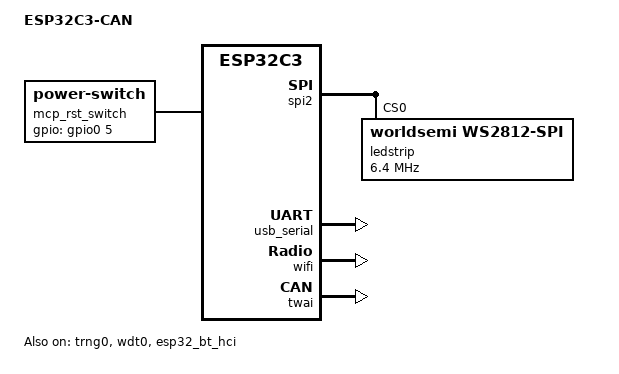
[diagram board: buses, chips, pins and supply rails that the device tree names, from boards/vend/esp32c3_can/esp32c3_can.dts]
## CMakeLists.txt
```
#
# Copyright (c) 2018 Nordic Semiconductor
#
# SPDX-License-Identifier: LicenseRef-Nordic-5-Clause
#
cmake_minimum_required(VERSION 3.20.0)

find_package(Zephyr REQUIRED HINTS $ENV{ZEPHYR_BASE})
project(gopro_remote)

list(APPEND CMAKE_MODULE_PATH ${ZEPHYR_BASE}/modules/nanopb)
include(nanopb)

zephyr_nanopb_sources(app src/protobuf/cohn.proto)
zephyr_nanopb_sources(app src/protobuf/live_streaming.proto)
zephyr_nanopb_sources(app src/protobuf/media.proto)
zephyr_nanopb_sources(app src/protobuf/network_management.proto)
zephyr_nanopb_sources(app src/protobuf/preset_status.proto)
zephyr_nanopb_sources(app src/protobuf/request_get_preset_status.proto)
zephyr_nanopb_sources(app src/protobuf/response_generic.proto)
zephyr_nanopb_sources(app src/protobuf/set_camera_control_status.proto)
zephyr_nanopb_sources(app src/protobuf/turbo_transfer.proto)
zephyr_nanopb_sources(app src/protobuf/gopro_client.proto)

# NORDIC SDK APP START
target_sources(app PRIVATE
  src/main.c
  src/gopro_client.c
  src/gopro_ble_discovery.c
  src/gopro_protobuf.c
  src/gopro_packet.c
  src/gopro_control.c
  src/canbus.c
  src/canbus_isotp.c
  src/buttons.c
  src/leds.c
  src/led_simple.c
  src/led_rgb.c
  src/shell.c
  src/nrf_hal/gatt_dm.c
  src/nrf_hal/scan.c
)
target_include_directories(app PRIVATE
src
# Add user defined include paths
)


# NORDIC SDK APP END
```

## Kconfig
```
source "Kconfig.zephyr"

config SETTINGS
	default y

config ZMS
	default y if (SOC_FLASH_NRF_RRAM || SOC_FLASH_NRF_MRAM)

config NVS
	default y if !(SOC_FLASH_NRF_RRAM || SOC_FLASH_NRF_MRAM)

config HAS_CANBUS
	bool "CAN-BUS present onboard"
	default n

config CANBUS_BD
	int  
	default 1000000

config HAS_LED_SIMPLE
	bool "Simple led"
	default n

config HAS_LED_RGB
	bool "RGB LED"
	default n

config RGB_LED_BRIGHTNESS
	int	
	default 50



#define LOG_LEVEL_NONE 0
#define LOG_LEVEL_ERR  1
#define LOG_LEVEL_WRN  2
#define LOG_LEVEL_INF  3
#define LOG_LEVEL_DBG  4

config CAN_LOG_LVL
	int
	default 4

config BLE_LOG_LVL
	int
	default 4

config PARSE_LOG_LVL
	int
	default 4

config LEDS_LOG_LVL
	int
	default 3

config BUTTONS_LOG_LVL
	int
	default 3


config USE_NRF_SDK
	bool
	default n


if !USE_NRF_SDK
config BT_SCAN_UUID_CNT
	int
	default 1

config BT_SCAN_FILTER_ENABLE
	bool
	default y

config BT_SCAN_MANUFACTURER_DATA_CNT
	int
	default 0

config BT_SCAN_MANUFACTURER_DATA_MAX_LEN
	int
	default 32

config BT_SCAN_APPEARANCE_CNT
	int
	default 0

config BT_SCAN_ADDRESS_CNT
	int	
	default 1

config BT_SCAN_SHORT_NAME_CNT
	int
	default 0

config BT_SCAN_SHORT_NAME_MAX_LEN
	int
	default 32

config BT_SCAN_LOG_LEVEL
	int
	default 3 

config BT_GATT_DM_MAX_ATTRS
	int
	default 35

config BT_GATT_DM_LOG_LEVEL
	int
	default 3

config BT_SCAN_NAME_CNT
	int
	default 0

config BT_SCAN_NAME_MAX_LEN
	int
	default 32
endif
```

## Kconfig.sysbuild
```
#
# Copyright (c) 2023 Nordic Semiconductor
#
# SPDX-License-Identifier: LicenseRef-Nordic-5-Clause
#

source "share/sysbuild/Kconfig"
```

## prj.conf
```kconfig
# Enable the BLE stack with GATT Client configuration
CONFIG_BT=y
CONFIG_BT_CENTRAL=y
CONFIG_BT_SMP=y
CONFIG_BT_GATT_CLIENT=y
CONFIG_BT_SECURITY_ERR_TO_STR=y
#CONFIG_BT_HCI_ERR_TO_STR = y
CONFIG_BT_SMP_SC_PAIR_ONLY=n 
CONFIG_BT_KEYS_OVERWRITE_OLDEST=y
CONFIG_BT_CONN_CHECK_NULL_BEFORE_CREATE=y
CONFIG_BT_ATT_ERR_TO_STR=y
#CONFIG_BT_FILTER_ACCEPT_LIST=y
#CONFIG_BT_PRIVACY=y

# Enable bonding
CONFIG_SETTINGS=y
CONFIG_BT_SETTINGS=y
CONFIG_FLASH=y
CONFIG_FLASH_PAGE_LAYOUT=y
CONFIG_FLASH_MAP=y
CONFIG_NVS=y
CONFIG_SETTINGS_NVS=y

# Config logger
CONFIG_LOG=y
CONFIG_LOG_PRINTK=y
CONFIG_ASSERT=y

CONFIG_THREAD_MONITOR=y
CONFIG_LOG_DEFAULT_LEVEL=3
CONFIG_LOG_BACKEND_SHOW_COLOR=n

CONFIG_TRACING=y

CONFIG_LOG_BUFFER_SIZE=4096
CONFIG_LOG_MODE_OVERFLOW=y

CONFIG_CAN=y
CONFIG_ISOTP=y
CONFIG_ISOTP_RX_SF_FF_BUF_COUNT=1
CONFIG_ISOTP_LOG_LEVEL_DBG=y
CONFIG_STATS=y
CONFIG_STATS_NAMES=y
CONFIG_CAN_STATS=y

CONFIG_ZBUS=y
CONFIG_ZBUS_LOG_LEVEL_INF=y
CONFIG_ZBUS_CHANNEL_NAME=y
CONFIG_ZBUS_MSG_SUBSCRIBER=y
CONFIG_ZBUS_ASSERT_MOCK=y
CONFIG_ISR_STACK_SIZE=4096
CONFIG_SYSTEM_WORKQUEUE_STACK_SIZE=4096
# CONFIG_MAIN_STACK_SIZE=8192
# CONFIG_IDLE_STACK_SIZE=1024
# CONFIG_PRIVILEGED_STACK_SIZE=8192

CONFIG_NANOPB=y

CONFIG_HWINFO=y 

CONFIG_THREAD_ANALYZER=y
CONFIG_THREAD_ANALYZER_USE_PRINTK=y
CONFIG_THREAD_MONITOR=y
# CONFIG_THREAD_ANALYZER_AUTO=y
# CONFIG_THREAD_ANALYZER_AUTO_INTERVAL=20

CONFIG_THREAD_STACK_INFO=y
CONFIG_INIT_STACKS=y
CONFIG_SYS_HEAP_RUNTIME_STATS=y

CONFIG_THREAD_NAME=y
CONFIG_SCHED_CPU_MASK=y

CONFIG_SHELL=y
#CONFIG_SHELL_LOG_BACKEND=y
CONFIG_SHELL_CMDS=y
CONFIG_SHELL_HELP=y
CONFIG_SHELL_HISTORY=n
CONFIG_CAN_SHELL=y
CONFIG_BT_SHELL=y
CONFIG_GPIO_SHELL=y
CONFIG_KERNEL_SHELL=y
#CONFIG_LED_SHELL=y
CONFIG_STATS_SHELL=n
```

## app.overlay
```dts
/*
 * Copyright (c) 2023 Nordic Semiconductor ASA
 *
 * SPDX-License-Identifier: LicenseRef-Nordic-5-Clause
 */

/ {
	 chosen {
		nordic,nus-uart = &uart0;
	 };
};
```

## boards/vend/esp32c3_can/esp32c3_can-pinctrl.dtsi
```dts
/*
 * Copyright (c) 2024 Arrel Neumiller
 * SPDX-License-Identifier: Apache-2.0
 */

#include <zephyr/dt-bindings/pinctrl/esp-pinctrl-common.h>
#include <zephyr/dt-bindings/pinctrl/esp32c3-pinctrl.h>
#include <zephyr/dt-bindings/pinctrl/esp32c3-gpio-sigmap.h>

&pinctrl {
	uart0_default: uart0_default {
		group1 {
			pinmux = <UART0_TX_GPIO21>;
			output-high;
		};

		group2 {
			pinmux = <UART0_RX_GPIO20>;
			bias-pull-up;
		};
	};

	spim2_default: spim2_default {
		group1 {
			pinmux = <SPIM2_MISO_GPIO8>,
				 <SPIM2_SCLK_GPIO9>,
				 <SPIM2_CSEL_GPIO7>;
		};

		group2 {
			pinmux = <SPIM2_MOSI_GPIO10>;
			output-low;
		};
	};

	i2c0_default: i2c0_default {
		group1 {
			pinmux = <I2C0_SDA_GPIO9>,
				 <I2C0_SCL_GPIO10>;
			bias-pull-up;
			drive-open-drain;
			output-high;
		};
	};

	twai_default: twai_default {
		group1 {
			pinmux = <TWAI_TX_GPIO3>,
				 <TWAI_RX_GPIO4>;
		};
	};


};
```

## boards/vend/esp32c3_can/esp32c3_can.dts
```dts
/*
 * Copyright (c) 2024 Arrel Neumiller
 * SPDX-License-Identifier: Apache-2.0
 */

/dts-v1/;

#include <espressif/esp32c3/esp32c3_fx4.dtsi>
#include "esp32c3_can-pinctrl.dtsi"
#include <zephyr/dt-bindings/input/input-event-codes.h>
#include <zephyr/dt-bindings/led/led.h>
#include <espressif/partitions_0x0_default.dtsi>

/ {
	model = "ESP32C3-CAN";
	compatible = "espressif,esp32c3_supermini";

	chosen {
		zephyr,sram = &sram1;
		zephyr,console = &usb_serial;
		zephyr,shell-uart = &usb_serial;
		zephyr,flash = &flash0;
		zephyr,code-partition = &slot0_partition;
		zephyr,canbus = &twai;
	};

	aliases {
		// led0 = &blue_led_0;
//		sw0 = &user_button1;
		i2c-0 = &i2c0;
		watchdog0 = &wdt0;
		ledstrip = &ledstrip;
	};

	mcp_rst_switch: mcp_rst_switch {
		compatible = "power-switch";
		gpios = <&gpio0 5 GPIO_ACTIVE_HIGH>;
	};

	// gpio_keys {
	// 	compatible = "gpio-keys";

	// 	user_button1: button_1 {
	// 		label = "User SW1";
	// 		gpios = <&gpio0 9 (GPIO_PULL_UP | GPIO_ACTIVE_LOW)>;
	// 		zephyr,code = <INPUT_KEY_0>;
	// 	};
	// };

	// leds {
	// 	compatible = "gpio-leds";

	// 	blue_led_0: led_0 {
	// 		gpios = <&gpio0 8 GPIO_ACTIVE_LOW>;
	// 		label = "Blue LED 0";
	// 	};
	// };
};

&spi2 {
	#address-cells = <1>;
	#size-cells = <0>;
	status = "okay";
	pinctrl-0 = <&spim2_default>;
	pinctrl-names = "default";


	line-idle-low;
	ledstrip: ws2812@0 {
		compatible = "worldsemi,ws2812-spi";

		/* SPI */
		reg = <0>; /* ignored, but necessary for SPI bindings */
		spi-max-frequency = <6400000>;

		/* WS2812 */
		chain-length = <1>; /* arbitrary; change at will */
		spi-cpha;
		spi-one-frame = <0xf0>; /* 11110000: 625 ns high and 625 ns low */
		spi-zero-frame = <0xc0>; /* 11000000: 312.5 ns high and 937.5 ns low */
		color-mapping = <LED_COLOR_ID_RED 
				 LED_COLOR_ID_GREEN
				 LED_COLOR_ID_BLUE>;
	};

};

&usb_serial {
	status = "okay";
};

&i2c0 {
	status = "disabled";
};

&trng0 {
	status = "okay";
};

&gpio0 {
	status = "okay";
};

&wdt0 {
	status = "okay";
};

&uart0 {
	status = "disabled";
};

&esp32_bt_hci {
	status = "okay";
};

&wifi {
	status = "okay";
};

&twai {
	pinctrl-0 = <&twai_default>;
	pinctrl-names = "default";
	status = "okay";
};
```

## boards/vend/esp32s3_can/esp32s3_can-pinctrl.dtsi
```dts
/*
 * Copyright (c) 2024 Espressif Systems (Shanghai) Co., Ltd.
 *
 * SPDX-License-Identifier: Apache-2.0
 */

#include <zephyr/dt-bindings/pinctrl/esp-pinctrl-common.h>
#include <dt-bindings/pinctrl/esp32s3-pinctrl.h>
#include <zephyr/dt-bindings/pinctrl/esp32s3-gpio-sigmap.h>

&pinctrl {
	uart0_default: uart0_default {
		group1 {
			pinmux = <UART0_TX_GPIO43>;
			output-high;
		};

		group2 {
			pinmux = <UART0_RX_GPIO44>;
			bias-pull-up;
		};
	};

	uart1_default: uart1_default {
		group1 {
			pinmux = <UART1_TX_GPIO17>;
			output-high;
		};

		group2 {
			pinmux = <UART1_RX_GPIO18>;
			bias-pull-up;
		};
	};

	i2c0_default: i2c0_default {
		group1 {
			pinmux = <I2C0_SDA_GPIO1>,
				 <I2C0_SCL_GPIO2>;
			bias-pull-up;
			drive-open-drain;
			output-high;
		};
	};

	i2c1_default: i2c1_default {
		group1 {
			pinmux = <I2C1_SDA_GPIO4>,
				 <I2C1_SCL_GPIO5>;
			bias-pull-up;
			drive-open-drain;
			output-high;
		};
	};

	i2s0_default: i2s0_default {
		group1 {
			pinmux = <I2S0_MCLK_GPIO4>,
				 <I2S0_O_WS_GPIO5>,
				 <I2S0_O_BCK_GPIO6>,
				 <I2S0_O_SD_GPIO7>,
				 <I2S0_I_WS_GPIO15>,
				 <I2S0_I_BCK_GPIO16>;
			output-enable;
		};

		group2 {
			pinmux = <I2S0_I_SD_GPIO17>;
			input-enable;
		};
	};

	i2s1_default: i2s1_default {
		group1 {
			pinmux = <I2S1_MCLK_GPIO18>,
				 <I2S1_O_WS_GPIO8>,
				 <I2S1_O_BCK_GPIO3>,
				 <I2S1_O_SD_GPIO9>,
				 <I2S1_I_WS_GPIO10>,
				 <I2S1_I_BCK_GPIO11>;
			output-enable;
		};

		group2 {
			pinmux = <I2S1_I_SD_GPIO12>;
			input-enable;
		};
	};

	spim2_default: spim2_default {
		group1 {
			pinmux = <SPIM2_MISO_GPIO13>,
				 <SPIM2_SCLK_GPIO12>,
				 <SPIM2_CSEL_GPIO10>;
		};

		group2 {
			pinmux = <SPIM2_MOSI_GPIO11>;
			output-low;
		};
	};

	spim3_default: spim3_default {
		group1 {
			pinmux = <SPIM3_MISO_GPIO37>,
				 <SPIM3_SCLK_GPIO36>,
				 <SPIM3_CSEL_GPIO38>;
		};

		group2 {
			pinmux = <SPIM3_MOSI_GPIO48>;
			output-low;
		};
	};

	twai_default: twai_default {
		group1 {
			pinmux = <TWAI_TX_GPIO5>,
				 <TWAI_RX_GPIO6>;
		};
	};
};
```

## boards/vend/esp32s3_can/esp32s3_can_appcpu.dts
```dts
/*
 * Copyright (c) 2024 Espressif Systems (Shanghai) Co., Ltd.
 *
 * SPDX-License-Identifier: Apache-2.0
 */
/dts-v1/;

#include <espressif/esp32s3/esp32s3_wroom_n8.dtsi>
#include <espressif/partitions_0x0_amp.dtsi>
#include "esp32s3_can-pinctrl.dtsi"

/ {
	model = "Espressif ESP32S3-DevkitC APPCPU";
	compatible = "espressif,esp32s3";

	chosen {
		zephyr,sram = &sram1;
		zephyr,ipc_shm = &shm0;
		zephyr,ipc = &ipm0;
		zephyr,flash = &flash0;
		zephyr,code-partition = &slot0_appcpu_partition;
	};
};

&trng0 {
	status = "okay";
};

&ipm0 {
	status = "okay";
};

&twai {
	status = "okay";
};
```

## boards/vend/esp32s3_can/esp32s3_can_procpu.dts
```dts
/dts-v1/;

#include <espressif/esp32s3/esp32s3_wroom_n8.dtsi>
#include <zephyr/dt-bindings/input/input-event-codes.h>
#include <zephyr/dt-bindings/input/esp32-touch-sensor-input.h>
#include <espressif/partitions_0x0_amp.dtsi>
#include "esp32s3_can-pinctrl.dtsi"
#include <zephyr/dt-bindings/led/led.h>

/ {
	model = "Espressif ESP32S3-DevkitC PROCPU";
	compatible = "espressif,esp32s3";

	chosen {
		zephyr,sram = &sram1;
		zephyr,console = &uart0;
		zephyr,shell-uart = &uart0;
		zephyr,flash = &flash0;
		zephyr,code-partition = &slot0_partition;
		zephyr,bt-hci = &esp32_bt_hci;
		zephyr,canbus = &twai;
	};

	aliases {
		uart-0 = &uart0;
		sw0 = &button0;
		i2c-0 = &i2c0;
		watchdog0 = &wdt0;
		ledstrip = &ledstrip;
	};

	buttons {
		compatible = "gpio-keys";

		button0: button_0 {
			gpios = <&gpio0 0 (GPIO_PULL_UP | GPIO_ACTIVE_LOW)>;
			label = "BOOT Button";
			zephyr,code = <INPUT_KEY_0>;
		};
	};
};

&usb_serial {
	status = "disabled";
};

&uart0 {
	status = "okay";
	current-speed = <115200>;
	pinctrl-0 = <&uart0_default>;
	pinctrl-names = "default";
};

&gpio0 {
	status = "okay";
};

&gpio1 {
	status = "okay";
};

&touch {
	debounce-interval-ms = <30>;
	href-microvolt = <2700000>;
	lref-microvolt = <500000>;
	href-atten-microvolt = <1000000>;
	filter-mode = <ESP32_TOUCH_FILTER_MODE_IIR_16>;
	filter-debounce-cnt = <1>;
	filter-noise-thr = <ESP32_TOUCH_FILTER_NOISE_THR_4_8TH>;
	filter-jitter-step = <4>;
	filter-smooth-level = <ESP32_TOUCH_FILTER_SMOOTH_MODE_IIR_2>;
};

&i2c0 {
	clock-frequency = <I2C_BITRATE_STANDARD>;
	pinctrl-0 = <&i2c0_default>;
	pinctrl-names = "default";
};

&i2c1 {
	clock-frequency = <I2C_BITRATE_STANDARD>;
	pinctrl-0 = <&i2c1_default>;
	pinctrl-names = "default";
};

&i2s0 {
	pinctrl-0 = <&i2s0_default>;
	pinctrl-names = "default";
	status = "disabled";
};

&i2s1 {
	pinctrl-0 = <&i2s1_default>;
	pinctrl-names = "default";
	status = "disabled";
};

&spi2 {
	#address-cells = <1>;
	#size-cells = <0>;
	status = "okay";
	pinctrl-0 = <&spim2_default>;
	pinctrl-names = "default";
};

&spi3 {
	/* Workaround to support WS2812 driver */
	line-idle-low;
	#address-cells = <1>;
	#size-cells = <0>;
	status = "okay";
	pinctrl-0 = <&spim3_default>;
	pinctrl-names = "default";
	
	ledstrip:ws2812@0 {
		compatible = "worldsemi,ws2812-spi";

		/* SPI */
		reg = <0>; /* ignored, but necessary for SPI bindings */
		spi-max-frequency = <6400000>;

		/* WS2812 */
		chain-length = <1>; /* arbitrary; change at will */
		spi-cpha;
		spi-one-frame = <0xf0>; /* 11110000: 625 ns high and 625 ns low */
		spi-zero-frame = <0xc0>; /* 11000000: 312.5 ns high and 937.5 ns low */
		color-mapping = <2 1 3>;
		status = "okay"; 
	};

};

&twai {
	pinctrl-0 = <&twai_default>;
	pinctrl-names = "default";
	status = "okay";
};

&timer0 {
	status = "disabled";
};

&timer1 {
	status = "disabled";
};

&timer2 {
	status = "disabled";
};

&timer3 {
	status = "disabled";
};

&wdt0 {
	status = "okay";
};

&trng0 {
	status = "okay";
};

&esp32_bt_hci {
	status = "okay";
};

&wifi {
	status = "disabled";
};

zephyr_udc0: &usb_otg {
	status = "disabled";
};
```

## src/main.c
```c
#include <zephyr/kernel.h>
#include <zephyr/logging/log.h>

#include <gopro_client.h>
#include <canbus.h>
#include <buttons.h>
#include <leds.h>
#include "gopro_ble_discovery.h"

#include <zephyr/drivers/clock_control.h>
#include <zephyr/drivers/clock_control/nrf_clock_control.h>

LOG_MODULE_REGISTER(gopro_main, LOG_LEVEL_DBG);

// System heap
extern struct sys_heap _system_heap;

#ifdef CONFIG_USE_NRF_SDK
int clocks_start(void)
{
	int err;
	int res;
	struct onoff_manager *clk_mgr;
	struct onoff_client clk_cli;

	clk_mgr = z_nrf_clock_control_get_onoff(CLOCK_CONTROL_NRF_SUBSYS_HF);
	if (!clk_mgr) {
		LOG_ERR("Unable to get the Clock manager");
		return -ENXIO;
	}

	sys_notify_init_spinwait(&clk_cli.notify);

	err = onoff_request(clk_mgr, &clk_cli);
	if (err < 0) {
		LOG_ERR("Clock request failed: %d", err);
		return err;
	}

	do {
		err = sys_notify_fetch_result(&clk_cli.notify, &res);
		if (!err && res) {
			LOG_ERR("Clock could not be started: %d", res);
			return res;
		}
	} while (err);

	LOG_DBG("HF clock started");
	return 0;
}
#endif

static void __attribute__((unused)) heap_usage(void){
	struct sys_memory_stats heap_stats;
	int ret;

	while(1){
		ret = sys_heap_runtime_stats_get(&_system_heap, &heap_stats);
        if (ret < 0) {
            LOG_ERR("Failed to get heap stats");
        } else {
            LOG_DBG("Heap | Free: %u bytes, Allocated: %u bytes Max: %u bytes", heap_stats.free_bytes, heap_stats.allocated_bytes, heap_stats.max_allocated_bytes);
        }
	
        k_msleep(5000);
	}
}


int main(void)
{
	#ifdef CONFIG_USE_NRF_SDK
	clocks_start();
	#endif
	gopro_gpio_init();
	gopro_leds_init();	
	canbus_init();
	gopro_bt_start();

	//heap_usage();

	return 0;
}
```

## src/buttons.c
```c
#include "buttons.h"
#include <errno.h>
#include <zephyr/kernel.h>
#include <zephyr/device.h>
#include <zephyr/devicetree.h>
#include <zephyr/logging/log.h>

#define SW0_NODE	DT_ALIAS(sw0)

#if DT_NODE_HAS_STATUS_OKAY(SW0_NODE)
#define BUTTON_PRESENT
#endif


#ifdef BUTTON_PRESENT

LOG_MODULE_REGISTER(gopro_buttons, CONFIG_BUTTONS_LOG_LVL);

#include <zephyr/sys/byteorder.h>
#include <zephyr/sys/printk.h>
#include <zephyr/drivers/gpio.h>
#include <zephyr/logging/log.h>
#include <zephyr/zbus/zbus.h>
#include "gopro_client.h"

static const struct gpio_dt_spec button_rec = GPIO_DT_SPEC_GET_OR(SW0_NODE, gpios,{0});
static struct gpio_callback button_cb_data;

static const struct gopro_cmd_t  gopro_start_rec_msg = {
    	.cmd_type = GP_CNTRL_HANDLE_CMD,
		.len = 4,
        .data = {0x03,0x01,0x01,0x01}
};

static const struct gopro_cmd_t gopro_stop_rec_msg = {
    	.cmd_type = GP_CNTRL_HANDLE_CMD,
        .len = 4,
        .data = {0x03,0x01,0x01,0x00}
};

extern struct gopro_state_t gopro_state;

ZBUS_CHAN_DECLARE(gopro_cmd_chan);


void button_pressed(const struct device *dev, struct gpio_callback *cb, uint32_t pins){
	int err;
	// static uint8_t cmd_index = 0;
	struct gopro_cmd_t *p_gopro_cmd;

	LOG_INF("Button pressed at %" PRIu32 " pins: %d", k_cycle_get_32(),pins);

	if(gopro_state.record == 1){
		p_gopro_cmd = (struct gopro_cmd_t *)&gopro_stop_rec_msg;
	}else{
		p_gopro_cmd = (struct gopro_cmd_t *)&gopro_start_rec_msg;
	}

	LOG_HEXDUMP_DBG(p_gopro_cmd,sizeof(struct gopro_cmd_t),"Button cmd:");

	err = zbus_chan_pub(&gopro_cmd_chan, p_gopro_cmd, K_NO_WAIT);
	if(err != 0){
		if(err == -ENOMSG){
			LOG_ERR("Invalid Gopro state, skip cmd");
			return;
		}
		LOG_ERR("CMD chan pub failed: %d",err);
	}else{
		LOG_DBG("Rec cmd sent");
	}


	// if(pins & BIT(button_rec.pin)){
	// 	LOG_INF("REC Button");
	// 	if (led.port) {
	// 			gpio_pin_toggle_dt(&led);
	// 	}

	// 	k_fifo_put(&fifo_uart_rx_data, &cmd_buf_list[cmd_index]);
	// 	cmd_index++;

	// 	if(cmd_index > (sizeof(cmd_buf_list)/sizeof(cmd_buf_list[0]))-1 ){
	// 		cmd_index = 0;
	// 	}
	// }
	
	// if(pins & BIT(button_hl.pin)){
	// 	LOG_INF("HL Button");

	// 	k_fifo_put(&fifo_uart_rx_data, &cmd_hl);
	// }
}

void gopro_gpio_init(void){
	int err=0;

	LOG_INF("Buttons init");

	if (!gpio_is_ready_dt(&button_rec)) {
		LOG_ERR("Error: button device %s is not ready\n",
		       button_rec.port->name);
		return;
	}

	err = gpio_pin_configure_dt(&button_rec, GPIO_INPUT);
	if (err != 0) {
		LOG_ERR("Error %d: failed to configure %s pin %d\n",
		       err, button_rec.port->name, button_rec.pin);
		return;
	}

	err = gpio_pin_interrupt_configure_dt(&button_rec, GPIO_INT_EDGE_TO_ACTIVE);
	if (err != 0) {
		LOG_ERR("Error %d: failed to configure interrupt on %s pin %d\n", err, button_rec.port->name, button_rec.pin);
		return;
	}

	gpio_init_callback(&button_cb_data, button_pressed, BIT(button_rec.pin));
	gpio_add_callback(button_rec.port, &button_cb_data);

	LOG_INF("Set up REC button at %s pin %d\n", button_rec.port->name, button_rec.pin);

}

#else
void gopro_gpio_init(void){
    
};


#endif
```

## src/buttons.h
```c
#ifndef GOPRO_BUTTONS_H
#define GOPRO_BUTTONS_H


void gopro_gpio_init(void);

#endif
```

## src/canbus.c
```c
#include "canbus.h"

#include <zephyr/drivers/spi.h>
#include <zephyr/drivers/can.h>
#include <zephyr/drivers/gpio.h>
#include <zephyr/kernel.h>
#include <zephyr/device.h>
#include <zephyr/devicetree.h>
#include <zephyr/sys/byteorder.h>
#include <zephyr/sys/printk.h>
#include <zephyr/logging/log.h>
#include <zephyr/zbus/zbus.h>
#include <zephyr/canbus/isotp.h>

#include <gopro_client.h>
#include <canbus_isotp.h>

//#define CAN_MCP_NODE	DT_ALIAS(cannode)

#ifdef CONFIG_HAS_CANBUS
LOG_MODULE_REGISTER(canbus_gopro, CONFIG_CAN_LOG_LVL);
#if DT_NODE_EXISTS(DT_NODELABEL(mcp_rst_switch))
#define MCP_RST_SWITCH
#endif

static void mcp2515_get_timing(struct can_timing *timing, uint8_t cnf1, uint8_t cnf2, uint8_t cnf3);
static void can_print_timing(struct can_timing *timing);
static void can_tx_timer_handler(struct k_timer *dummy);
static void can_tx_subscriber_task(void *ptr1, void *ptr2, void *ptr3);
static void can_data_subscriber_task(void *ptr1, void *ptr2, void *ptr3);
static void can_tx_work_handler(struct k_work *work);

extern struct gopro_state_t gopro_state;

K_SEM_DEFINE(can_tx_sem, 0, 1);

static bool can_msg_validator(const void* msg, size_t msg_size);
ZBUS_CHAN_DEFINE(can_tx_chan,                           	/* Name */
         struct can_frame,                       		      	/* Message type */
         can_msg_validator,                                       	/* Validator */
         NULL,                                       	/* User Data */
         ZBUS_OBSERVERS(can_tx_subscriber),  	        		/* observers */
         ZBUS_MSG_INIT(0)       						/* Initial value */
);

ZBUS_MSG_SUBSCRIBER_DEFINE(can_tx_subscriber);

K_THREAD_DEFINE(can_tx_subscriber_task_id, 2048, can_tx_subscriber_task, NULL, NULL, NULL, 3, 0, 0);

static bool gopro_cmd_validator(const void* msg, size_t msg_size);
ZBUS_CHAN_DEFINE(can_txdata_chan,                           	/* Name */
         struct gopro_cmd_t,                       		      	/* Message type */
         gopro_cmd_validator,                                       	/* Validator */
         NULL,                                       	/* User Data */
         ZBUS_OBSERVERS(can_data_subscriber),  	        		/* observers */
         ZBUS_MSG_INIT(0)       						/* Initial value */
);

ZBUS_MSG_SUBSCRIBER_DEFINE(can_data_subscriber);

K_THREAD_DEFINE(can_data_subscriber_task_id, 1024, can_data_subscriber_task, NULL, NULL, NULL, 3, 0, 0);

ZBUS_CHAN_DECLARE(gopro_cmd_chan);

K_TIMER_DEFINE(can_tx_timer, can_tx_timer_handler, NULL);
#define CAN_TX_TIMER_START	do{k_timer_start(&can_tx_timer, K_MSEC(100), K_MSEC(100));}while(0)
K_WORK_DEFINE(can_tx_work, can_tx_work_handler);

#ifdef MCP_RST_SWITCH
static const struct gpio_dt_spec mcp_rst_switch = 	GPIO_DT_SPEC_GET_OR(DT_NODELABEL(mcp_rst_switch), gpios, {0});
#endif

const struct device *can_dev = DEVICE_DT_GET(DT_CHOSEN(zephyr_canbus));

const struct can_frame err_state_frame = {
		.flags = 0,
		.id = GPCAN_REPLY_MSG_ERR_ID,
		.dlc = 1,
		.data = {0xFF,0,0,0,0,0,0,0}
};

#ifdef GPCAN_ENABLE_FILTER
const struct can_filter goprocan_filter = {
        .flags = 0,
        .id = GPCAN_INPUT_CMD_ID,
        .mask = 0x7F0
};
#else
const struct can_filter goprocan_filter = {
        .flags = 0,
        .id = 0,
        .mask = 0
};
#endif

static bool can_msg_validator(const void* msg, size_t msg_size) {
	struct can_frame *frame =  (struct can_frame *)msg;

	if( (frame->dlc == 0 ) || (frame->dlc > 8)){
		LOG_ERR("Invalid CAN MSG len: %d",frame->dlc);
		return 0;
	}

	if(frame->id > 0x7FF){
		LOG_ERR("Invalid CAN ID: 0x%0X",frame->id);
		return 0;
	}

	if(frame->flags != 0){
		LOG_ERR("Invalid CAN flags: 0x%0X",frame->flags);
		return 0;
	}

	return 1;
}

static bool gopro_cmd_validator(const void* msg, size_t msg_size) {
	struct gopro_cmd_t *gopro_cmd =  (struct gopro_cmd_t *)msg;

	if(gopro_cmd->len > GOPRO_CMD_DATA_LEN){
		LOG_ERR("Data len > 20: %d",gopro_cmd->len);
		return 0;
	}

	switch (gopro_cmd->cmd_type)
	{
	case GP_CNTRL_HANDLE_CMD:
	case GP_CNTRL_HANDLE_SETTINGS:
	case GP_CNTRL_HANDLE_QUERY:
	case GP_CNTRL_HANDLE_NET:
		break;
	
	default:
		return 0;
		break;
	}

	return 1;
}

static void rx_callback_function(const struct device *dev, struct can_frame *frame, void *user_data)
{
    int err;
	struct gopro_cmd_t gopro_cmd;    

	memset(&gopro_cmd,0,sizeof(struct gopro_cmd_t));

	switch (frame->id)
	{
	case GPCAN_INPUT_CMD_ID: //GoPro cmd
		gopro_cmd.cmd_type = GP_CNTRL_HANDLE_CMD;
		break;

	case GPCAN_INPUT_SET_ID: //GoPro cmd
		gopro_cmd.cmd_type = GP_CNTRL_HANDLE_SETTINGS;
		break;

	case GPCAN_INPUT_QUERY_ID: //GoPro cmd
		gopro_cmd.cmd_type = GP_CNTRL_HANDLE_QUERY;
		break;

	case GPCAN_INPUT_NET_ID: //GoPro cmd
		gopro_cmd.cmd_type = GP_CNTRL_HANDLE_NET;
		break;

	case GPCAN_INPUT_CONTROL_ID: //GoPro cmd
		gopro_cmd.cmd_type = 0xFF;
		break;

	default:
		return;
		break;
	}

	if((frame->dlc > 0) && (frame->dlc <= GOPRO_CMD_DATA_LEN)){

		gopro_cmd.len = frame->dlc;
		
		for(uint32_t i=0; i<frame->dlc; i++){
			gopro_cmd.data[i] = frame->data[i];
		}

		err = zbus_chan_pub(&gopro_cmd_chan, &gopro_cmd, K_NO_WAIT);
		if(err != 0){
			if(err == -ENOMSG){
				LOG_ERR("Invalid Gopro state, skip cmd");
				
				zbus_chan_pub(&can_tx_chan, &err_state_frame, K_NO_WAIT);
				
				return;
			}
			LOG_ERR("CMD chan pub failed: %d",err);
		}
	}	
}

static void __attribute__((unused)) mcp2515_get_timing(struct can_timing *timing, uint8_t cnf1, uint8_t cnf2, uint8_t cnf3){
	timing->sjw= (cnf1 >> 6) + 1;
	timing->prescaler= (cnf1 & 0x3F) + 1;

	timing->phase_seg1= ((cnf2 >> 3) & 7)+1;
	timing->prop_seg= (cnf2 & 0x7) + 1;

	timing->phase_seg2=(cnf3 & 7)+1;
}

int canbus_init(void){
	struct can_timing timing;
	int err;

	#ifdef MCP_RST_SWITCH
		if (!gpio_is_ready_dt(&mcp_rst_switch)) {
			LOG_ERR("The MCP2515 RST pin GPIO port is not ready.");
			return -1;
		}

		err = gpio_pin_configure_dt(&mcp_rst_switch, GPIO_OUTPUT_INACTIVE);
		if (err != 0) {
			LOG_ERR("Configuring RST pin failed: %d", err);
			return-1;
		}

		err = gpio_pin_set_dt(&mcp_rst_switch, 1);
		if (err != 0) {
			LOG_ERR("Setting RST pin level failed: %d\n", err);
			return -1;
		}
	#endif

	if (!device_is_ready(can_dev)) {
		LOG_ERR("CAN: Device %s not ready.\n", can_dev->name);
		return -1;
	}else{
		LOG_DBG("CAN device ready");
	}

	err = can_set_mode(can_dev, CAN_MODE_NORMAL);

    if (err != 0) {
        LOG_ERR("Error setting CAN mode [%d]", err);
        return -1;
    }else{
    	LOG_DBG("MODE NORMAL Enabled.");
	}

	err = can_calc_timing(can_dev, &timing, CONFIG_CANBUS_BD, 875);
	
	if (err < 0) {
		LOG_ERR("Failed to calc a valid timing");
		return -1;
	}else{
		LOG_DBG("Sample-Point error: %d", err);
	}

	can_print_timing(&timing);

	err = can_set_timing(can_dev, &timing);
	
	if (err != 0) {
		LOG_ERR("Failed to set timing: %d",err);
        return err;
    }

	int filter_id = can_add_rx_filter(can_dev, rx_callback_function, NULL, &goprocan_filter);

    if (filter_id < 0) {
		LOG_ERR("Unable to add rx filter [%d]", filter_id);
        return -1;
    }

	err = can_start(can_dev);
	if (err != 0) {
		LOG_ERR("Error starting CAN controller [%d]", err);
		return err;
	}else{
		LOG_DBG("CAN Start");
	}

	CAN_TX_TIMER_START;
	
	canbus_isotp_init(can_dev);
	
	LOG_INF("CAN BUS init done at %d kb/s",CONFIG_CANBUS_BD);
    return 0;
}

static void can_print_timing(struct can_timing *timing){

	const struct can_timing *min = can_get_timing_min(can_dev);
  	const struct can_timing *max = can_get_timing_max(can_dev);

	LOG_DBG("Can bitrate MIN: %d MAX: %d",can_get_bitrate_min(can_dev),can_get_bitrate_max(can_dev));
	LOG_DBG("SWJ: %d  MIN: %d MAX: %d",timing->sjw,min->sjw,max->sjw);
	LOG_DBG("Prescaler: %d  MIN: %d MAX: %d",timing->prescaler,min->prescaler,max->prescaler);
	LOG_DBG("Pseg1: %d  MIN: %d MAX: %d",timing->phase_seg1,min->phase_seg1,max->phase_seg1);
	LOG_DBG("Pseg2: %d  MIN: %d MAX: %d",timing->phase_seg2,min->phase_seg2,max->phase_seg2);
	LOG_DBG("Propseg: %d  MIN: %d MAX: %d",timing->prop_seg,min->prop_seg,max->prop_seg);

}

void can_tx_callback(const struct device *dev, int error, void *user_data){
	k_sem_give(&can_tx_sem);
};

static void can_tx_subscriber_task(void *ptr1, void *ptr2, void *ptr3){
	int err;
	ARG_UNUSED(ptr1);
	ARG_UNUSED(ptr2);
	ARG_UNUSED(ptr3);
	const struct zbus_channel *chan;
	uint8_t can_error_flag = 0;
	uint8_t can_tx_timeout_flag = 0;
	struct can_frame tx_frame;

	memset(&tx_frame,0,sizeof(struct can_frame));
	
	while (zbus_sub_wait_msg(&can_tx_subscriber, &chan, &tx_frame, K_FOREVER) == 0 ) {
		if (&can_tx_chan == chan) {
			err = can_send(can_dev, &tx_frame, K_NO_WAIT, can_tx_callback, NULL);
			
				if (err != 0) {
					if(can_error_flag == 0){
						LOG_ERR("CAN Sending failed [%d]", err);
						can_error_flag = 1;
					}
				}else{
					can_error_flag = 0;
				}

				if (k_sem_take(&can_tx_sem, K_MSEC(50)) != 0) {
					if(can_tx_timeout_flag == 0){
						can_tx_timeout_flag = 1;
						LOG_ERR("Can send timeout");
					}
    			} else {
					if(can_tx_timeout_flag == 1){
						LOG_INF("Can send restore");
					}
					can_tx_timeout_flag = 0;
				}
			}
	}
};

static void can_tx_work_handler(struct k_work *work){
	struct can_frame tx_frame;

	memset(&tx_frame,0,sizeof(struct can_frame));

	tx_frame.id = GPCAN_HEART_BEAT_ID;
	tx_frame.dlc = 4;
	tx_frame.flags = 0;

	tx_frame.data[0] = gopro_state.state;
	tx_frame.data[1] = gopro_state.record; 
	tx_frame.data[2] = gopro_state.battery;
	tx_frame.data[3] = gopro_state.video_count; 

	zbus_chan_pub(&can_tx_chan, &tx_frame, K_NO_WAIT);
}

static void can_tx_timer_handler(struct k_timer *dummy){
	k_work_submit(&can_tx_work);
};

static void can_data_subscriber_task(void *ptr1, void *ptr2, void *ptr3){
	struct gopro_cmd_t gopro_cmd;
	struct can_frame tx_frame;
	const struct zbus_channel *chan;
	int data_len;
	ARG_UNUSED(ptr1);
	ARG_UNUSED(ptr2);
	ARG_UNUSED(ptr3);

	memset(&tx_frame, 0, sizeof(struct can_frame));

	while (!zbus_sub_wait_msg(&can_data_subscriber, &chan, &gopro_cmd, K_FOREVER)) {
		if (&can_txdata_chan == chan) {
			if(gopro_cmd.len > 0){
				memset(&tx_frame,0,sizeof(struct can_frame));

				switch (gopro_cmd.cmd_type)
				{
				case GP_CNTRL_HANDLE_CMD:
					tx_frame.id = GPCAN_REPLY_MSG_CMD_ID;
					break;

				case GP_CNTRL_HANDLE_SETTINGS:
					tx_frame.id = GPCAN_REPLY_MSG_SETTINGS_ID;
					break;
				
				case GP_CNTRL_HANDLE_QUERY:
					tx_frame.id = GPCAN_REPLY_MSG_QUERY_ID;
					break;

				case GP_CNTRL_HANDLE_NET:
					tx_frame.id = GPCAN_REPLY_MSG_NET_ID;
					break;

				default:
					LOG_ERR("Unknown cmd type: %d",gopro_cmd.cmd_type);
					continue;
					break;
				}

				if(gopro_cmd.data[0] == gopro_cmd.len-1){
					data_len = gopro_cmd.data[0];
				}else{
					data_len = gopro_cmd.len;
					LOG_ERR("Frame error, set dlc len %d",data_len);
				}

				if(data_len > 8){
					tx_frame = err_state_frame;
					LOG_WRN("Reply to long: %d bytes",data_len);
				}else{
					tx_frame.dlc = data_len;
					for(uint32_t i=0; i<tx_frame.dlc; i++){
						tx_frame.data[i] = gopro_cmd.data[i+1];
					}
				}
				
				zbus_chan_pub(&can_tx_chan, &tx_frame, K_NO_WAIT);
			}
		}
	}
}
#else

int canbus_init(void){
	return 0;
}

int can_hb(void){
	return 0;
}

#endif
```

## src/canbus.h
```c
#ifndef GOPRO_CANBUS_H
#define GOPRO_CANBUS_H

#define GPCAN_HEART_BEAT_ID         0x734

#define GPCAN_INPUT_CMD_ID          0x772
#define GPCAN_REPLY_MSG_CMD_ID      0x773

#define GPCAN_INPUT_SET_ID          0x774
#define GPCAN_REPLY_MSG_SETTINGS_ID 0x775

#define GPCAN_INPUT_QUERY_ID        0x776
#define GPCAN_REPLY_MSG_QUERY_ID    0x777

#define GPCAN_INPUT_NET_ID          0x778
#define GPCAN_REPLY_MSG_NET_ID      0x779

#define GPCAN_INPUT_CONTROL_ID      0x77A

#define GPCAN_REPLY_MSG_ERR_ID      0x740

#define GPCAN_ENABLE_FILTER  


int canbus_init(void);
int can_hb(void);

#endif
```

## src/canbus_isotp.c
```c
#include "canbus_isotp.h"
#include <gopro_client.h>

LOG_MODULE_REGISTER(canbus_isotp, CONFIG_CAN_LOG_LVL);

static void isotp_rx_thread(void *arg1, void *arg2, void *arg3);
static void isotp_tx_thread(void *arg1, void *arg2, void *arg3);

struct k_sem can_isotp_rx_sem;
extern struct k_sem can_reply_sem;

K_THREAD_STACK_DEFINE(isotp_rx_thread_stack, ISOTP_RX_THREAD_STACK_SIZE);
K_THREAD_STACK_DEFINE(isotp_tx_thread_stack, ISOTP_TX_THREAD_STACK_SIZE);

ZBUS_CHAN_DECLARE(can_rx_ble_chan);

ZBUS_CHAN_DEFINE(can_tx_ble_chan,                           	/* Name */
         struct mem_pkt_t,                       		      	/* Message type */
         NULL,                                       	/* Validator */
         NULL,                                       	/* User Data */
         ZBUS_OBSERVERS(can_tx_ble_subscriber),  	        		/* observers */
         ZBUS_MSG_INIT(0)       						/* Initial value */
);

ZBUS_MSG_SUBSCRIBER_DEFINE(can_tx_ble_subscriber);

struct k_thread isotp_rx_thread_data;
struct k_thread isotp_tx_thread_data;

struct isotp_recv_ctx isotp_recv_ctx;

const struct isotp_msg_id isotp_rx_addr = {
	.std_id = 0x753,
};
const struct isotp_msg_id isotp_tx_addr = {
	.std_id = 0x763,
};

const struct isotp_msg_id tx_reply = {
	.std_id = 0x783,
};

const struct isotp_msg_id rx_reply = {
	.std_id = 0x784,
};

const struct isotp_fc_opts isotp_fc_opts = {.bs = 8, .stmin = 10};

void canbus_isotp_init(const struct device *can_dev){
	k_tid_t tid;

    LOG_DBG("Init ISO-TP with can_dev=0x%0X", (uint32_t)can_dev);

    k_sem_init(&can_isotp_rx_sem, 1, 1);

	tid = k_thread_create(&isotp_rx_thread_data, isotp_rx_thread_stack, K_THREAD_STACK_SIZEOF(isotp_rx_thread_stack), isotp_rx_thread, (void *)can_dev, NULL, NULL, ISOTP_RX_THREAD_PRIORITY, 0, K_NO_WAIT);
	if (!tid) {
		LOG_ERR("ERROR spawning ISO-TP rx thread\n");
	}else{
		k_thread_name_set(tid, "isotprx");
	}
	
	tid = k_thread_create(&isotp_tx_thread_data, isotp_tx_thread_stack, K_THREAD_STACK_SIZEOF(isotp_tx_thread_stack), isotp_tx_thread, (void *)can_dev, NULL, NULL, ISOTP_TX_THREAD_PRIORITY, 0, K_NO_WAIT);
	if (!tid) {
		LOG_ERR("ERROR spawning ISO-TP rx thread\n");
	}else{
		k_thread_name_set(tid, "isotptx");
	}

}

static void isotp_rx_thread(void *arg1, void *arg2, void *arg3){
	const struct device *can_dev = arg1;
	int ret, rem_len;
	int err;
	struct net_buf *buf;
	struct mem_pkt_t mem_pkt;

	LOG_DBG("Bind ISO-TP RX, dev 0x%0X",(uint32_t)can_dev);
	ret = isotp_bind(&isotp_recv_ctx, can_dev, &isotp_rx_addr, &isotp_tx_addr, &isotp_fc_opts, K_FOREVER);

	if(ret != ISOTP_N_OK){
		LOG_ERR("Failed to bind ISO-TP to rx ID %d [%d]\n", isotp_rx_addr.std_id, ret);
		return;
	}
	memset(&mem_pkt,0,sizeof(struct mem_pkt_t));

	while (1) {
		if( k_sem_take(&can_isotp_rx_sem, K_MSEC(2000)) == 0) {
			LOG_DBG("Semaphore lock %d",ret);
			if(mem_pkt.data != NULL){
				LOG_DBG("Free isotp mem");
				k_free(mem_pkt.data);
			}
			memset(&mem_pkt,0,sizeof(struct mem_pkt_t));

			do {
				rem_len = isotp_recv_net(&isotp_recv_ctx, &buf, K_FOREVER);

				if(mem_pkt.data == NULL){ //Начало пакета, выделение памяти
					uint32_t alloc_size = rem_len + buf->len;
					LOG_DBG("Start recieving pkt, allocate %d bytes",alloc_size);

					mem_pkt.data = k_malloc(alloc_size);

					if (mem_pkt.data != NULL) {
						memset(mem_pkt.data, 0, alloc_size);
						mem_pkt.len = alloc_size;
					} else {
						LOG_ERR("Memory not allocated");
					}
				}
				
				if (rem_len < 0) {
					LOG_ERR("Receiving error [%d]\n", rem_len);
					mem_pkt.len = -1;
					break;
				}

				if(mem_pkt.data != NULL){
					while (buf != NULL) {
						memcpy(&mem_pkt.data[mem_pkt.index],buf->data,buf->len);
						mem_pkt.index += buf->len;
						LOG_DBG("ISO-TP Proceed %d bytes, %d total",buf->len,mem_pkt.index);
						buf = net_buf_frag_del(NULL, buf);
					}
				}
			} while (rem_len);

			if(mem_pkt.len < 0){
				k_sem_give(&can_isotp_rx_sem);
				break;
			}

			LOG_INF("Got %d bytes of %d in total", mem_pkt.index, mem_pkt.len);

			err = zbus_chan_pub(&can_rx_ble_chan, &mem_pkt, K_NO_WAIT);
			if(err != 0){
				LOG_ERR("Chan pub failed: %d",err);
				k_sem_give(&can_isotp_rx_sem);
				break;
			}
	}else{
		LOG_WRN("Semaphore busy");
	}
	
	}
}

void isotpsend_callback(int error_nr, void *arg){
	uint8_t *data=arg;

	if(error_nr == ISOTP_N_OK){
		LOG_DBG("Send OK");
	}else{
		LOG_ERR("Send failed, err: %d",error_nr);
	}

	k_free(data);
	k_sem_give(&can_reply_sem);
	LOG_DBG("Mem free, sem give");

}

static void isotp_tx_thread(void *arg1, void *arg2, void *arg3){
	const struct device *can_dev = arg1;
	int ret;
	static struct isotp_send_ctx send_ctx;
	struct mem_pkt_t mem_pkt;
	const struct zbus_channel *chan;

	LOG_DBG("ISO-TP TX, dev 0x%0X",(uint32_t)can_dev);

	while(1){
		while (!zbus_sub_wait_msg(&can_tx_ble_subscriber, &chan, &mem_pkt, K_FOREVER)) {
			if (&can_tx_ble_chan == chan) {
				
				LOG_DBG("Get %d bytes for ISOTP send",mem_pkt.len);

				ret = isotp_send(&send_ctx, can_dev, mem_pkt.data, mem_pkt.len, &tx_reply, &rx_reply, isotpsend_callback, mem_pkt.data);
				if (ret != ISOTP_N_OK) {
					LOG_ERR("Error while sending data to ID %0X [%d]\n", tx_reply.std_id, ret);
				}
			}
		}
	}
};
```

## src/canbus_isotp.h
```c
#ifndef CAN_ISOTP_H
#define CAN_ISOTP_H

#include <zephyr/drivers/can.h>
#include <zephyr/kernel.h>
#include <zephyr/sys/byteorder.h>
#include <zephyr/sys/printk.h>
#include <zephyr/logging/log.h>
#include <zephyr/zbus/zbus.h>
#include <zephyr/canbus/isotp.h>


#define ISOTP_RX_THREAD_PRIORITY 	9
#define ISOTP_RX_THREAD_STACK_SIZE	4096

#define ISOTP_TX_THREAD_PRIORITY 	9
#define ISOTP_TX_THREAD_STACK_SIZE	4096

void canbus_isotp_init(const struct device *can_dev);

#endif
```

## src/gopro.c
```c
/*
 * Copyright (c) 2018 Nordic Semiconductor ASA
 *
 * SPDX-License-Identifier: LicenseRef-Nordic-5-Clause
 */

#include <zephyr/bluetooth/conn.h>
#include <zephyr/bluetooth/uuid.h>
#include <zephyr/bluetooth/gatt.h>

#include <gopro.h>
#include <zephyr/logging/log.h>

LOG_MODULE_REGISTER(bt_nus, LOG_LEVEL_INF);

static struct bt_nus_cb nus_cb;

static void nus_ccc_cfg_changed(const struct bt_gatt_attr *attr,
				  uint16_t value)
{
	if (nus_cb.send_enabled) {
		LOG_DBG("Notification has been turned %s",
			value == BT_GATT_CCC_NOTIFY ? "on" : "off");
		nus_cb.send_enabled(value == BT_GATT_CCC_NOTIFY ?
			BT_NUS_SEND_STATUS_ENABLED : BT_NUS_SEND_STATUS_DISABLED);
	}
}

static ssize_t on_receive(struct bt_conn *conn,
			  const struct bt_gatt_attr *attr,
			  const void *buf,
			  uint16_t len,
			  uint16_t offset,
			  uint8_t flags)
{
	LOG_DBG("Received data, handle %d, conn %p",
		attr->handle, (void *)conn);

	if (nus_cb.received) {
		nus_cb.received(conn, buf, len);
}
	return len;
}

static void on_sent(struct bt_conn *conn, void *user_data)
{
	ARG_UNUSED(user_data);

	LOG_DBG("Data send, conn %p", (void *)conn);

	if (nus_cb.sent) {
		nus_cb.sent(conn);
	}
}

/* UART Service Declaration */
BT_GATT_SERVICE_DEFINE(nus_svc,
BT_GATT_PRIMARY_SERVICE(BT_UUID_NUS_SERVICE),
	BT_GATT_CHARACTERISTIC(BT_UUID_NUS_TX,
			       BT_GATT_CHRC_NOTIFY,
#ifdef CONFIG_BT_NUS_AUTHEN
			       BT_GATT_PERM_READ_AUTHEN,
#else
			       BT_GATT_PERM_READ,
#endif /* CONFIG_BT_NUS_AUTHEN */
			       NULL, NULL, NULL),
	BT_GATT_CCC(nus_ccc_cfg_changed,
#ifdef CONFIG_BT_NUS_AUTHEN
			       BT_GATT_PERM_READ_AUTHEN | BT_GATT_PERM_WRITE_AUTHEN),
#else
			       BT_GATT_PERM_READ | BT_GATT_PERM_WRITE),
#endif /* CONFIG_BT_NUS_AUTHEN */
	BT_GATT_CHARACTERISTIC(BT_UUID_NUS_RX,
			       BT_GATT_CHRC_WRITE |
			       BT_GATT_CHRC_WRITE_WITHOUT_RESP,
#ifdef CONFIG_BT_NUS_AUTHEN
			       BT_GATT_PERM_READ_AUTHEN | BT_GATT_PERM_WRITE_AUTHEN,
#else
			       BT_GATT_PERM_READ | BT_GATT_PERM_WRITE,
#endif /* CONFIG_BT_NUS_AUTHEN */
			       NULL, on_receive, NULL),
);

int bt_nus_init(struct bt_nus_cb *callbacks)
{
	if (callbacks) {
		nus_cb.received = callbacks->received;
		nus_cb.sent = callbacks->sent;
		nus_cb.send_enabled = callbacks->send_enabled;
	}

	return 0;
}

int bt_nus_send(struct bt_conn *conn, const uint8_t *data, uint16_t len)
{
	struct bt_gatt_notify_params params = {0};
	const struct bt_gatt_attr *attr = &nus_svc.attrs[2];

	params.attr = attr;
	params.data = data;
	params.len = len;
	params.func = on_sent;

	if (!conn) {
		LOG_DBG("Notification send to all connected peers");
		return bt_gatt_notify_cb(NULL, &params);
	} else if (bt_gatt_is_subscribed(conn, attr, BT_GATT_CCC_NOTIFY)) {
		return bt_gatt_notify_cb(conn, &params);
	} else {
		return -EINVAL;
	}
}
```

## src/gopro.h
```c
/*
 * Copyright (c) 2018 Nordic Semiconductor ASA
 *
 * SPDX-License-Identifier: LicenseRef-Nordic-5-Clause
 */

#ifndef BT_NUS_H_
#define BT_NUS_H_

/**
 * @file
 * @defgroup bt_nus Nordic UART (NUS) GATT Service
 * @{
 * @brief Nordic UART (NUS) GATT Service API.
 */

#include <zephyr/types.h>
#include <zephyr/bluetooth/conn.h>
#include <zephyr/bluetooth/uuid.h>
#include <zephyr/bluetooth/gatt.h>

#ifdef __cplusplus
extern "C" {
#endif

/*

#define GOPRO_BASE_UUID                 {{0x1b, 0xc5, 0xd5, 0xa5, 0x02, 0x00, 0x46, 0x90, 0xe3, 0x11, 0x8d, 0xaa, 0x00, 0x00, 0xf9, 0xb5}}

define BLE_UUID16_GOPRO_SERVICE         0xFEA6      
#define BLE_UUID128_GOPRO_SERVICE        {{0xfb, 0x34, 0x9b, 0x5f, 0x80, 0x00, 0x00, 0x80, 0x00, 0x10, 0x00, 0x00, 0xa6, 0xfe, 0x00, 0x00}}     
*/
//0xfb, 0x34, 0x9b, 0x5f, 0x80, 0x00, 0x00, 0x80, 0x00, 0x10, 0x00, 0x00, 0xa6, 0xfe, 0x00, 0x00
//0x0000fea6 0x0000 0x1000 0x8000 0x00805f9b34fb
#define BLE_UUID16_GOPRO_SERVICE         0xFEA6      
/** @brief UUID of the NUS Service. **/
#define BT_UUID_NUS_VAL \
	BT_UUID_128_ENCODE(0x0000fea6, 0x0000, 0x1000, 0x8000, 0x00805f9b34fb)
//	BT_UUID_128_ENCODE(0x6e400001, 0xb5a3, 0xf393, 0xe0a9, 0xe50e24dcca9e)

/** @brief UUID of the TX Characteristic. **/
//b5f9XXXX-aa8d-11e3-9046-0002a5d5c51b
#define BT_UUID_NUS_RX_VAL \
	BT_UUID_128_ENCODE(0xb5f90072, 0xaa8d, 0x11e3, 0x9046, 0x0002a5d5c51b)
	//BT_UUID_128_ENCODE(0x6e400003, 0xb5a3, 0xf393, 0xe0a9, 0xe50e24dcca9e)

/** @brief UUID of the RX Characteristic. **/
#define BT_UUID_NUS_TX_VAL \
	BT_UUID_128_ENCODE(0xb5f90073, 0xaa8d, 0x11e3, 0x9046, 0x0002a5d5c51b)
//BT_UUID_128_ENCODE(0x6e400002, 0xb5a3, 0xf393, 0xe0a9, 0xe50e24dcca9e)

//#define BT_UUID_NUS_SERVICE   BT_UUID_DECLARE_128(BT_UUID_NUS_VAL)
#define BT_UUID_NUS_SERVICE   BT_UUID_DECLARE_16(BLE_UUID16_GOPRO_SERVICE)
#define BT_UUID_NUS_RX        BT_UUID_DECLARE_128(BT_UUID_NUS_RX_VAL)
#define BT_UUID_NUS_TX        BT_UUID_DECLARE_128(BT_UUID_NUS_TX_VAL)

/** @brief NUS send status. */
enum bt_nus_send_status {
	/** Send notification enabled. */
	BT_NUS_SEND_STATUS_ENABLED,
	/** Send notification disabled. */
	BT_NUS_SEND_STATUS_DISABLED,
};

/** @brief Pointers to the callback functions for service events. */
struct bt_nus_cb {
	/** @brief Data received callback.
	 *
	 * The data has been received as a write request on the NUS RX
	 * Characteristic.
	 *
	 * @param[in] conn  Pointer to connection object that has received data.
	 * @param[in] data  Received data.
	 * @param[in] len   Length of received data.
	 */
	void (*received)(struct bt_conn *conn,
			 const uint8_t *const data, uint16_t len);

	/** @brief Data sent callback.
	 *
	 * The data has been sent as a notification and written on the NUS TX
	 * Characteristic.
	 *
	 * @param[in] conn Pointer to connection object, or NULL if sent to all
	 *                 connected peers.
	 */
	void (*sent)(struct bt_conn *conn);

	/** @brief Send state callback.
	 *
	 * Indicate the CCCD descriptor status of the NUS TX characteristic.
	 *
	 * @param[in] status Send notification status.
	 */
	void (*send_enabled)(enum bt_nus_send_status status);

};

/**@brief Initialize the service.
 *
 * @details This function registers a GATT service with two characteristics,
 *          TX and RX. A remote device that is connected to this service
 *          can send data to the RX Characteristic. When the remote enables
 *          notifications, it is notified when data is sent to the TX
 *          Characteristic.
 *
 * @param[in] callbacks  Struct with function pointers to callbacks for service
 *                       events. If no callbacks are needed, this parameter can
 *                       be NULL.
 *
 * @retval 0 If initialization is successful.
 *           Otherwise, a negative value is returned.
 */
int bt_nus_init(struct bt_nus_cb *callbacks);

/**@brief Send data.
 *
 * @details This function sends data to a connected peer, or all connected
 *          peers.
 *
 * @param[in] conn Pointer to connection object, or NULL to send to all
 *                 connected peers.
 * @param[in] data Pointer to a data buffer.
 * @param[in] len  Length of the data in the buffer.
 *
 * @retval 0 If the data is sent.
 *           Otherwise, a negative value is returned.
 */
int bt_nus_send(struct bt_conn *conn, const uint8_t *data, uint16_t len);

/**@brief Get maximum data length that can be used for @ref bt_nus_send.
 *
 * @param[in] conn Pointer to connection Object.
 *
 * @return Maximum data length.
 */
static inline uint32_t bt_nus_get_mtu(struct bt_conn *conn)
{
	/* According to 3.4.7.1 Handle Value Notification off the ATT protocol.
	 * Maximum supported notification is ATT_MTU - 3 */
	return bt_gatt_get_mtu(conn) - 3;
}

#ifdef __cplusplus
}
#endif

/**
 *@}
 */

#endif /* BT_NUS_H_ */
```

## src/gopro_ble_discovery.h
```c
#ifndef GOPRO_BLE_DISCOVERY
#define GOPRO_BLE_DISCOVERY

#include <errno.h>
#include <zephyr/kernel.h>

#include <zephyr/bluetooth/bluetooth.h>
#include <zephyr/bluetooth/hci.h>
#include <zephyr/bluetooth/conn.h>
#include <zephyr/bluetooth/uuid.h>
#include <zephyr/bluetooth/gatt.h>
#ifdef CONFIG_USE_NRF_SDK
#include <bluetooth/gatt_dm.h>
#include <bluetooth/scan.h>
#else
#include "nrf_hal/gatt_dm.h"
#include "nrf_hal/scan.h"
#endif

#include "gopro_client.h"

//#define DISCOVERY_TIMEOUT   K_MSEC(5000)
#define DISCOVERY_TIMEOUT   K_FOREVER
#define BLE_WRITE_TIMEOUT	K_MSEC(1200)
#define GET_HW_POLL_COUNT   20

int gopro_bt_start(void);
void gopro_start_discovery(struct bt_conn *conn, struct bt_gopro_client *gopro_client);

#endif
```
